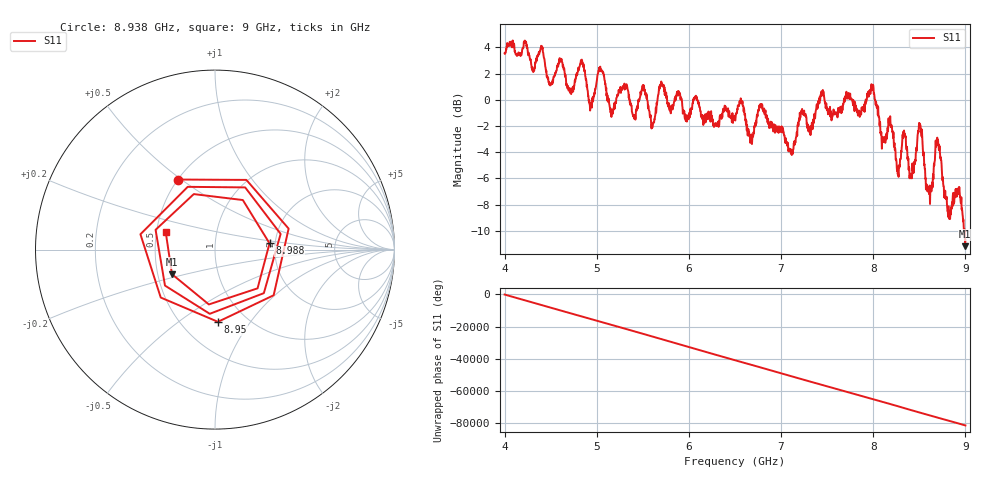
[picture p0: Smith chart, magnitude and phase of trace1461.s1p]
! Created with skrf 1.8.0 (http://scikit-rf.org).
# Hz S RI R 50.0
!freq ReS11 ImS11
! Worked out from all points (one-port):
!   1601 points, 4 GHz to 9 GHz, reference 50 ohm
!   lowest |S11| = -11.2 dB at 8.997 GHz (marker M1), VSWR 1.76, Z = 29.7 - j8.81 ohm
!   |S11| at or under -10 dB: 8.984164 GHz to 8.990119 GHz (5.955 MHz wide, 0.0663 % of centre); 8.991991 GHz to end of sweep
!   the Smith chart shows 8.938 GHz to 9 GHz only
!   S11 on the Smith chart (normalised r, x): 8.938 GHz: 0.50, +0.48; 8.95 GHz: 0.74, -0.71; 8.988 GHz: 1.87, +0.14; 9 GHz: 0.56, +0.12
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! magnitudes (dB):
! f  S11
! 4 GHz  3.5
! 4.625 GHz  2.8
! 4.719 GHz  0.8
! 4.844 GHz  2.8
! 4.938 GHz  -0.4
! 5.041 GHz  2.2
! 5.159 GHz  -1.3
! 5.25 GHz  0.8
! 5.603 GHz  -2.1
! 5.7 GHz  1.4
! 5.875 GHz  0.5
! 6.5 GHz  -1.5
! 6.791 GHz  -0.3
! 7.125 GHz  -4.2
! 7.438 GHz  0.6
! 7.75 GHz  0.5
! 7.988 GHz  0.7
! 8.106 GHz  -2.9
! 8.375 GHz  -4.4
! 8.506 GHz  -1.8
! 8.597 GHz  -7.0
! 8.7 GHz  -3.5
! 8.819 GHz  -9.0
! 8.938 GHz  -7.1
! 8.95 GHz  -7.9
! 8.988 GHz  -10.3
! 8.997 GHz  -11.2
! 9 GHz  -10.7
